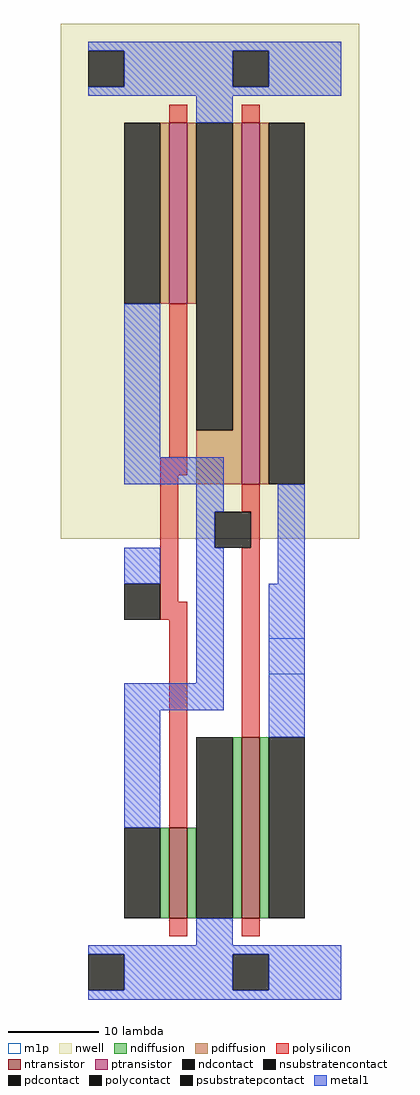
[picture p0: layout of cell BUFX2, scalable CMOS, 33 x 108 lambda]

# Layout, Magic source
magic
tech scmos
<< nwell >>
rect -5 48 28 105
<< ntransistor >>
rect 7 6 9 16
rect 15 6 17 26
<< ptransistor >>
rect 7 74 9 94
rect 15 54 17 94
<< ndiffusion >>
rect 6 6 7 16
rect 9 6 10 16
rect 14 6 15 26
rect 17 6 18 26
<< pdiffusion >>
rect 6 74 7 94
rect 9 74 10 94
rect 14 60 15 94
rect 10 54 15 60
rect 17 54 18 94
<< ndcontact >>
rect 2 6 6 16
rect 10 6 14 26
rect 18 6 22 26
<< pdcontact >>
rect 2 74 6 94
rect 10 60 14 94
rect 18 54 22 94
<< psubstratepcontact >>
rect -2 -2 2 2
rect 14 -2 18 2
<< nsubstratencontact >>
rect -2 98 2 102
rect 14 98 18 102
<< polysilicon >>
rect 7 94 9 96
rect 15 94 17 96
rect 7 57 9 74
rect 6 55 9 57
rect 6 41 8 55
rect 15 51 17 54
rect 16 47 17 51
rect 6 39 9 41
rect 7 16 9 39
rect 15 26 17 47
rect 7 4 9 6
rect 15 4 17 6
<< polycontact >>
rect 2 39 6 43
rect 12 47 16 51
<< metal1 >>
rect -2 102 26 103
rect 2 98 14 102
rect 18 98 26 102
rect -2 97 26 98
rect 10 94 14 97
rect 2 57 6 74
rect 2 54 13 57
rect 10 51 13 54
rect 10 47 12 51
rect 2 43 6 47
rect 10 32 13 47
rect 19 43 22 54
rect 2 29 13 32
rect 2 16 6 29
rect 18 26 22 43
rect 10 3 14 6
rect -2 2 26 3
rect 2 -2 14 2
rect 18 -2 26 2
rect -2 -3 26 -2
<< m1p >>
rect 2 43 6 47
rect 18 33 22 37
<< labels >>
<< end >>
